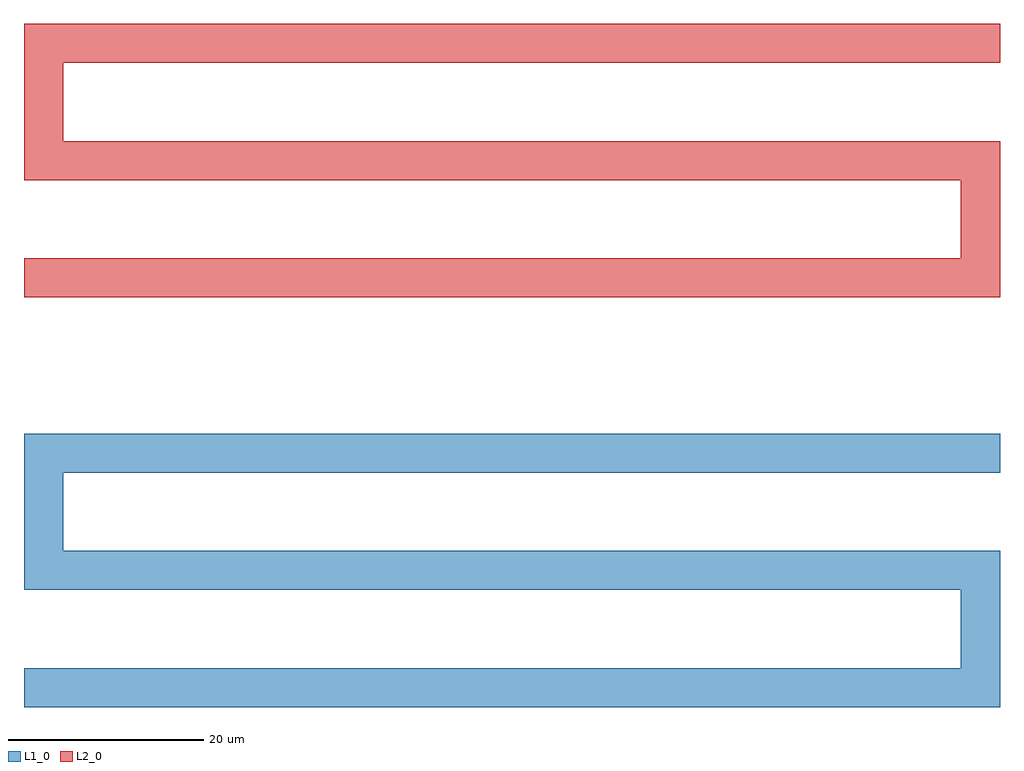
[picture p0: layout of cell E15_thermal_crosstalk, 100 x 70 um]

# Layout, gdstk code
import gdstk
lib = gdstk.Library(unit=1e-6, precision=1e-09)
def R(c, l, rs):  # rectangles x0, y0, x1, y1
    for r in rs: c.add(gdstk.rectangle(r[:2], r[2:], *l))
def A(c, l, x, y, w, h, nx, ny, dx, dy):  # array of equal rectangles
    R(c, l, [(x+i*dx, y+j*dy, x+i*dx+w, y+j*dy+h) for i in range(nx) for j in range(ny)])
L1_0 = (1, 0)
L2_0 = (2, 0)

e15_thermal_crosstalk = lib.new_cell('E15_thermal_crosstalk')
A(e15_thermal_crosstalk, L1_0, 0, 0, 100, 4, 1, 3, 0, 12)
R(e15_thermal_crosstalk, L1_0, [(96,0,100,16), (0,12,4,28)])
A(e15_thermal_crosstalk, L2_0, 0, 42, 100, 4, 1, 3, 0, 12)
R(e15_thermal_crosstalk, L2_0, [(96,42,100,58), (0,54,4,70)])

lib.write_gds('E15_thermal_crosstalk.gds')
